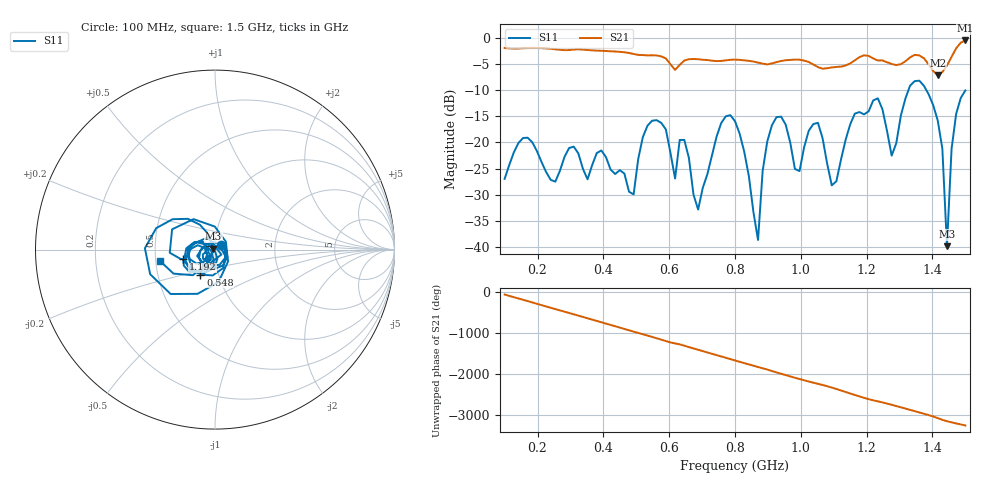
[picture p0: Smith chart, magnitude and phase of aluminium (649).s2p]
! NanoVNA-App
! Date: 2025-09-25 15:00:20
! Start: 100MHz Stop: 1,5GHz Points: 101
! S-Parameter data: F S11 S21 S12 S22
# Hz S RI R 50
!  Frequency  S11_Real  S11_Imag  S21_Real  S21_Imag  S12_Real  S12_Imag  S22_Real  S22_Imag
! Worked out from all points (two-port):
!   101 points, 100 MHz to 1.5 GHz, reference 50 ohm
!   highest |S21| = -0.48 dB at 1.5 GHz (marker M1); lowest = -7.1 dB at 1.416 GHz (marker M2)
!   |S21| within 3 dB of the highest: start of sweep to 571.9 MHz; 1.459 GHz to end of sweep (the widest 2 of 4)
!   lowest |S11| = -39.8 dB at 1.444 GHz (marker M3), VSWR 1.02, Z = 49.1 + j0.539 ohm
!   |S11| at or under -10 dB: start of sweep to 1.327 GHz; 1.382 GHz to end of sweep
!   S12 and S22 are empty: the file has one direction only
!   S11 on the Smith chart (normalised r, x): 100 MHz: 1.07, +0.06; 548 MHz: 0.82, -0.23; 1.192 GHz: 0.69, -0.08; 1.5 GHz: 0.52, -0.07
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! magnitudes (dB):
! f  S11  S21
! 100 MHz  -27.0  -1.9
! 156 MHz  -19.1  -2.0
! 338 MHz  -25.0  -2.2
! 492 MHz  -29.9  -3.1
! 548 MHz  -15.8  -3.3
! 576 MHz  -16.2  -3.5
! 618 MHz  -26.9  -6.1
! 646 MHz  -19.5  -4.3
! 688 MHz  -32.8  -4.1
! 800 MHz  -15.9  -4.1
! 870 MHz  -38.7  -4.7
! 912 MHz  -16.7  -4.9
! 996 MHz  -25.5  -4.2
! 1.038 GHz  -16.5  -5.1
! 1.094 GHz  -28.2  -5.6
! 1.192 GHz  -14.6  -3.3
! 1.276 GHz  -22.5  -5.0
! 1.346 GHz  -8.3  -3.2
! 1.416 GHz  -15.8  -7.1
! 1.444 GHz  -39.8  -5.3
! 1.458 GHz  -21.2  -3.6
! 1.5 GHz  -10.0  -0.5
